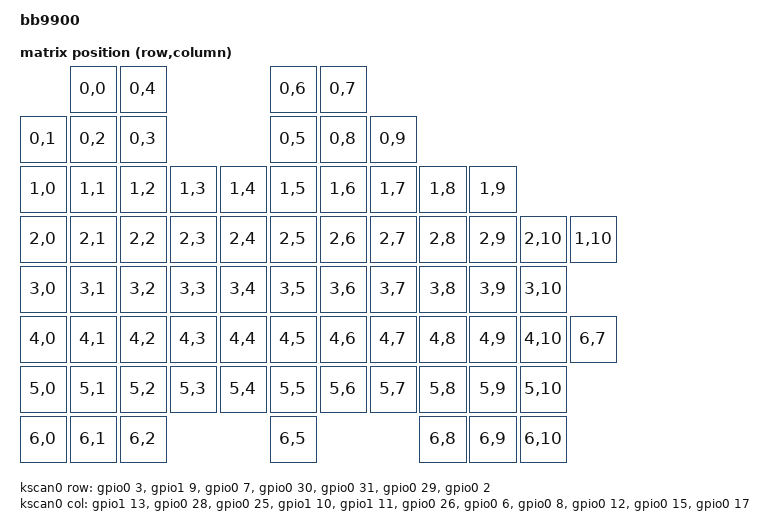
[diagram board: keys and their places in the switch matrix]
/*
 * Copyright (c) 2023 ZitaoTech
 *
 * SPDX-License-Identifier: MIT
 */


#include <nordic/nrf52840_qiaa.dtsi>

#include <dt-bindings/led/led.h>
#include <dt-bindings/zmk/matrix_transform.h>


/ {
    model = "bb9900";
    compatible = "ZitaoTech,bb9900";

    chosen {
        zephyr,code-partition = &code_partition;
        zephyr,sram = &sram0;
        zephyr,flash = &flash0;
        zephyr,console = &cdc_acm_uart;
        zmk,battery = &vbatt;
        zmk,kscan = &kscan0;
        zmk,matrix_transform = &default_transform;
        zmk,led_indicator = &indi_led_indicator;
        zmk_indicator_capslock= &indi_capslock_indicator;
        zmk,backlight = &backlight;
    };

    indi_capslock_indicator:  pwmledo {
        compatible = "pwm-leds";
        pwm_led_0 {
            pwms = <&pwm2 0 PWM_USEC(20) PWM_POLARITY_NORMAL>;
        };
    };

    indi_led_indicator: pwmledt {
        compatible = "pwm-leds";
        pwm_led_0 {
            pwms = <&pwm0 0 PWM_USEC(20) PWM_POLARITY_NORMAL>;
        };
    };

    backlight: pwmleds {
        compatible = "pwm-leds";
        pwm_led_0 {
            pwms = <&pwm1 0 PWM_MSEC(10) PWM_POLARITY_NORMAL>;
        };
    };

    default_transform: keymap_transform_0 {
        compatible = "zmk,matrix-transform";
        columns = <11>;
        rows = <7>;
       map = <
        RC(0,0)               RC(0,4)      RC(0,6)  RC(0,7)  
RC(0,1) RC(0,2)  RC(0,3)        RC(0,5)       RC(0,8)  RC(0,9)
RC(1,0)  RC(1,1) RC(1,2) RC(1,3) RC(1,4) RC(1,5) RC(1,6) RC(1,7) RC(1,8)  RC(1,9)
RC(2,0)  RC(2,1) RC(2,2) RC(2,3) RC(2,4) RC(2,5) RC(2,6) RC(2,7) RC(2,8)  RC(2,9) RC(2,10) RC(1,10)
RC(3,0)  RC(3,1) RC(3,2) RC(3,3) RC(3,4) RC(3,5) RC(3,6) RC(3,7) RC(3,8)  RC(3,9) RC(3,10)
RC(4,0)  RC(4,1) RC(4,2) RC(4,3) RC(4,4) RC(4,5) RC(4,6) RC(4,7) RC(4,8)  RC(4,9) RC(4,10) RC(6,7)
RC(5,0)  RC(5,1) RC(5,2) RC(5,3) RC(5,4) RC(5,5) RC(5,6) RC(5,7) RC(5,8)  RC(5,9) RC(5,10)
RC(6,0)  RC(6,1) RC(6,2)                 RC(6,5)                 RC(6,8)  RC(6,9) RC(6,10)
        >;
    };
    
    kscan0: kscan {
        compatible = "zmk,kscan-gpio-matrix";
        diode-direction = "col2row";
       row-gpios
            = <&gpio0 3 (GPIO_ACTIVE_HIGH | GPIO_PULL_DOWN)>
            , <&gpio1 9  (GPIO_ACTIVE_HIGH | GPIO_PULL_DOWN)>
            , <&gpio0 7 (GPIO_ACTIVE_HIGH | GPIO_PULL_DOWN)>
            , <&gpio0 30  (GPIO_ACTIVE_HIGH | GPIO_PULL_DOWN)>
            , <&gpio0 31  (GPIO_ACTIVE_HIGH | GPIO_PULL_DOWN)>
            , <&gpio0 29 (GPIO_ACTIVE_HIGH | GPIO_PULL_DOWN)>
            , <&gpio0 2 (GPIO_ACTIVE_HIGH | GPIO_PULL_DOWN)>
            ;
        col-gpios
            = <&gpio1 13  GPIO_ACTIVE_HIGH>
            , <&gpio0 28  GPIO_ACTIVE_HIGH>
            , <&gpio0 25  GPIO_ACTIVE_HIGH>
            , <&gpio1 10 GPIO_ACTIVE_HIGH>
            , <&gpio1 11 GPIO_ACTIVE_HIGH>
            , <&gpio0 26 GPIO_ACTIVE_HIGH>
            , <&gpio0 6 GPIO_ACTIVE_HIGH>
            , <&gpio0 8 GPIO_ACTIVE_HIGH>
            , <&gpio0 12 GPIO_ACTIVE_HIGH>
            , <&gpio0 15 GPIO_ACTIVE_HIGH>
            , <&gpio0 17 GPIO_ACTIVE_HIGH>          
            ;
    };

    leds {
        compatible = "gpio-leds";
        blue_led: led_0 {
            gpios = <&gpio0 10 GPIO_ACTIVE_HIGH>;
        };
    };

    // Node name must match original "EXT_POWER" label to preserve user settings.
    EXT_POWER {
        compatible = "zmk,ext-power-generic";
        control-gpios = <&gpio0 13 GPIO_ACTIVE_LOW>;
    };

    vbatt: vbatt {
        compatible = "zmk,battery-voltage-divider";
        io-channels = <&adc 2>;
        output-ohms = <2000000>;
        full-ohms = <(2000000 + 820000)>;
    };
};
&i2c0 {
    a320@3b {
        compatible = "avago,a320";
        status = "okay";
        reg = <0x3B>;
    };
    
	label = "I2C_0";
	compatible = "nordic,nrf-twim";
	status = "okay";
	clock-frequency = <I2C_BITRATE_FAST>; 
	pinctrl-0 = <&i2c0_default>;
	pinctrl-1 = <&i2c0_sleep>;
	pinctrl-names = "default", "sleep";
};


&adc {
    status = "okay";
};

&gpiote {
    status = "okay";
};

&gpio0 {
    status = "okay";
};

&gpio1 {
    status = "okay";
};

&pwm0 {
    status = "okay";
    pinctrl-0 = <&pwm0_default>;
    pinctrl-1 = <&pwm0_sleep>;
    pinctrl-names = "default", "sleep";
};

&pwm1 {
    status = "okay";
    pinctrl-0 = <&pwm1_default>;
    pinctrl-1 = <&pwm1_sleep>;
    pinctrl-names = "default", "sleep";
};

&pwm2 {
    status = "okay";
    pinctrl-0 = <&pwm2_default>;
    pinctrl-1 = <&pwm2_sleep>;
    pinctrl-names = "default", "sleep";
};


&usbd {
    status = "okay";
    cdc_acm_uart: cdc_acm_uart {
        compatible = "zephyr,cdc-acm-uart";
    };
};

&flash0 {
    /*
     * For more information, see:
     * http://docs.zephyrproject.org/latest/devices/dts/flash_partitions.html
     */
    partitions {
        compatible = "fixed-partitions";
        #address-cells = <1>;
        #size-cells = <1>;

        sd_partition: partition@0 {
            reg = <0x00000000 0x00001000>;
        };

        code_partition: partition@1000 {
            reg = <0x00001000 0x000d3000>;
        };

        /*
         * The flash starting at 0x000d4000 and ending at
         * 0x000f3fff is reserved for use by the application.
         */

        /*
         * Storage partition will be used by FCB/LittleFS/NVS
         * if enabled.
         */
        storage_partition: partition@d4000 {
            reg = <0x000d4000 0x00020000>;
        };

        boot_partition: partition@f4000 {
            reg = <0x000f4000 0x0000c000>;
        };
    };
};

